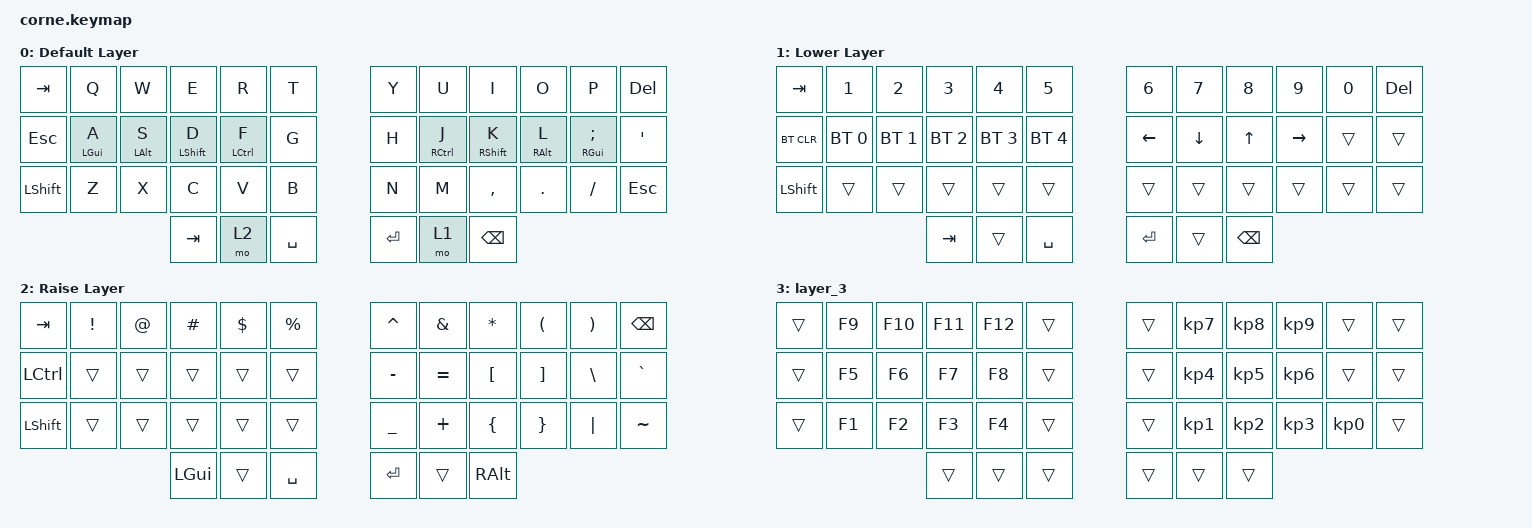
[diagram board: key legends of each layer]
/*
 * Copyright (c) 2020 The ZMK Contributors
 *
 * SPDX-License-Identifier: MIT
 */

#include <behaviors.dtsi>
#include <dt-bindings/zmk/bt.h>
#include <dt-bindings/zmk/keys.h>

/ {
    combos {
        compatible = "zmk,combos";

        caps_word {
            bindings = <&caps_word>;
            key-positions = <25 34>;
        };

        mo_3 {
            bindings = <&mo 3>;
            key-positions = <37 40>;
        };
    };

    behaviors {
        hmr: hmr {
            compatible = "zmk,behavior-hold-tap";
            label = "HMR";
            bindings = <&kp>, <&kp>;

            #binding-cells = <2>;
            tapping-term-ms = <280>;
            hold-trigger-key-positions = <0 1 2 3 4 5 12 13 14 15 16 17 24 25 26 27 28 29 36 37 38 39 40 41>;
            hold-trigger-on-release;
            flavor = "balanced";
            quick-tap-ms = <175>;
            require-prior-idle-ms = <150>;
        };

        hml: hml {
            compatible = "zmk,behavior-hold-tap";
            label = "HML";
            bindings = <&kp>, <&kp>;

            #binding-cells = <2>;
            tapping-term-ms = <280>;
            hold-trigger-on-release;
            flavor = "balanced";
            quick-tap-ms = <175>;
            hold-trigger-key-positions = <6 7 8 9 10 11 18 19 20 21 22 23 30 31 32 33 34 35 39 40 41 36 37 38>;
        };
    };

    keymap {
        compatible = "zmk,keymap";

        default_layer {
            display-name = "Default Layer";

            // -----------------------------------------------------------------------------------------
            // |  TAB |  Q  |  W  |  E  |  R  |  T  |   |  Y  |  U   |  I  |  O  |  P  | BSPC |
            // | CTRL |  A  |  S  |  D  |  F  |  G  |   |  H  |  J   |  K  |  L  |  ;  |  '   |
            // | SHFT |  Z  |  X  |  C  |  V  |  B  |   |  N  |  M   |  ,  |  .  |  /  | ESC  |
            //                    | GUI | LWR | SPC |   | ENT | RSE  | ALT |

            bindings = <
&kp TAB     &kp Q            &kp W            &kp E              &kp R         &kp T        &kp Y    &kp U         &kp I               &kp O             &kp P                &kp DELETE
&kp ESCAPE  &hml LEFT_GUI A  &hml LEFT_ALT S  &hml LEFT_SHIFT D  &hml LCTRL F  &kp G        &kp H    &hmr RCTRL J  &hmr RIGHT_SHIFT K  &hmr RIGHT_ALT L  &hmr RIGHT_GUI SEMI  &kp SQT
&kp LSHFT   &kp Z            &kp X            &kp C              &kp V         &kp B        &kp N    &kp M         &kp COMMA           &kp DOT           &kp FSLH             &kp ESC
                                              &kp TAB            &mo 2         &kp SPACE    &kp RET  &mo 1         &kp BACKSPACE
            >;
        };

        lower_layer {
            display-name = "Lower Layer";

            // -----------------------------------------------------------------------------------------
            // |  TAB |  1  |  2  |  3  |  4  |  5  |   |  6  |  7  |  8  |  9  |  0  | BSPC |
            // | BTCLR| BT1 | BT2 | BT3 | BT4 | BT5 |   | LFT | DWN |  UP | RGT |     |      |
            // | SHFT |     |     |     |     |     |   |     |     |     |     |     |      |
            //                    | GUI |     | SPC |   | ENT |     | ALT |

            bindings = <
&kp TAB     &kp N1        &kp N2        &kp N3        &kp N4        &kp N5          &kp N6    &kp N7    &kp N8         &kp N9     &kp N0  &kp DELETE
&bt BT_CLR  &bt BT_SEL 0  &bt BT_SEL 1  &bt BT_SEL 2  &bt BT_SEL 3  &bt BT_SEL 4    &kp LEFT  &kp DOWN  &kp UP         &kp RIGHT  &trans  &trans
&kp LSHFT   &trans        &trans        &trans        &trans        &trans          &trans    &trans    &trans         &trans     &trans  &trans
                                        &kp TAB       &trans        &kp SPACE       &kp RET   &trans    &kp BACKSPACE
            >;
        };

        raise_layer {
            display-name = "Raise Layer";

            // -----------------------------------------------------------------------------------------
            // |  TAB |  !  |  @  |  #  |  $  |  %  |   |  ^  |  &  |  *  |  (  |  )  | BSPC |
            // | CTRL |     |     |     |     |     |   |  -  |  =  |  [  |  ]  |  \  |  `   |
            // | SHFT |     |     |     |     |     |   |  _  |  +  |  {  |  }  | "|" |  ~   |
            //                    | GUI |     | SPC |   | ENT |     | ALT |

            bindings = <
&kp TAB    &kp EXCL  &kp AT  &kp HASH  &kp DLLR  &kp PRCNT    &kp CARET  &kp AMPS   &kp ASTRK  &kp LPAR  &kp RPAR  &kp BSPC
&kp LCTRL  &trans    &trans  &trans    &trans    &trans       &kp MINUS  &kp EQUAL  &kp LBKT   &kp RBKT  &kp BSLH  &kp GRAVE
&kp LSHFT  &trans    &trans  &trans    &trans    &trans       &kp UNDER  &kp PLUS   &kp LBRC   &kp RBRC  &kp PIPE  &kp TILDE
                             &kp LGUI  &trans    &kp SPACE    &kp RET    &trans     &kp RALT
            >;
        };

        layer_3 {
            bindings = <
&trans  &kp F9  &kp F10  &kp F11  &kp F12  &trans    &trans  &kp KP_NUMBER_7  &kp KP_NUMBER_8  &kp KP_NUMBER_9  &trans           &trans
&trans  &kp F5  &kp F6   &kp F7   &kp F8   &trans    &trans  &kp KP_NUMBER_4  &kp KP_NUMBER_5  &kp KP_NUMBER_6  &trans           &trans
&trans  &kp F1  &kp F2   &kp F3   &kp F4   &trans    &trans  &kp KP_NUMBER_1  &kp KP_NUMBER_2  &kp KP_NUMBER_3  &kp KP_NUMBER_0  &trans
                         &trans   &trans   &trans    &trans  &trans           &trans
            >;
        };
    };
};
